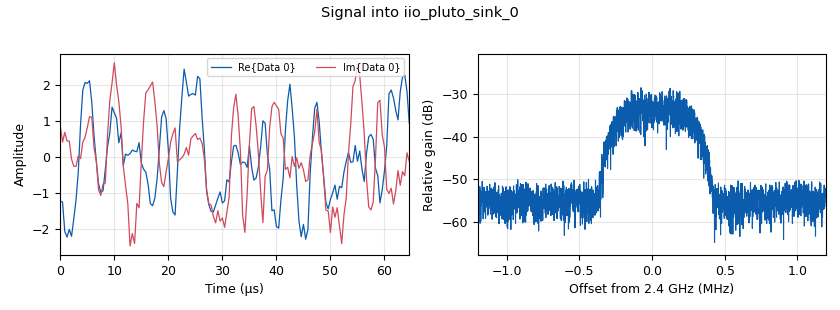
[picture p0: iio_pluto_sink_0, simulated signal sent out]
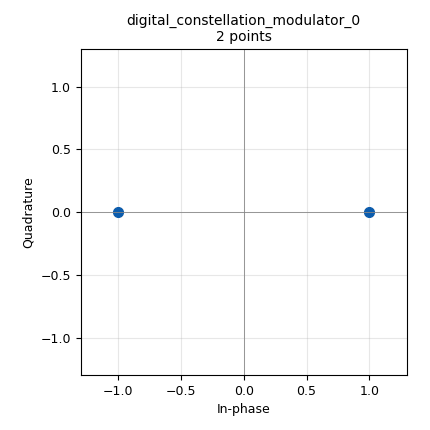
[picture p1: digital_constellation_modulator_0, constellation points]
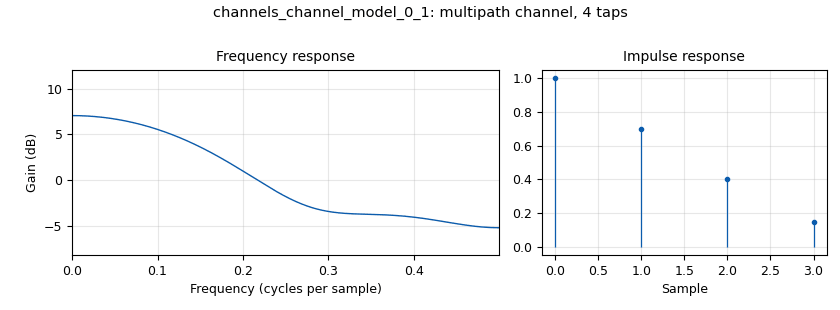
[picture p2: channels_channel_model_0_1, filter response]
options:
  parameters:
    author: Pixel_Pulse
    generate_options: qt_gui
    generator_class_name: PythonQtGuiGenerator
    generator_module: gnuradio.grc.workflows.python_qt_gui
    id: Version_1
    output_language: python
    title: CDP
  states: {}

blocks:
- name: access_key
  id: variable
  parameters:
    value: '"1110000101011010111010001001001111100001010110101110100010010011"'
  states: {}
- name: bpsk
  id: variable_constellation_rect
  parameters:
    const_points: '[-1,1] '
    imag_sect: '1'
    real_sect: '2'
    rot_sym: '2'
    sym_map: '[0, 1,]'
    w_imag_sect: '1'
    w_real_sect: '1'
  states: {}
- name: damp_fac
  id: variable
  parameters:
    value: '0.707'
  states: {}
- name: excess_bw
  id: variable
  parameters:
    value: '0.35'
  states: {}
- name: freq
  id: variable
  parameters:
    value: 2.4e9
  states: {}
- name: freq_offset
  id: variable
  parameters:
    value: '0.01'
  states: {}
- name: hdr_format
  id: variable
  parameters:
    comment: header_format_default
    value: digital.header_format_default(access_key, 0)
  states: {}
- name: max_dev
  id: variable
  parameters:
    value: '0.05'
  states: {}
- name: max_dev_0
  id: variable
  parameters:
    value: '0.05'
  states: {}
- name: my_addr
  id: variable
  parameters:
    value: '''B1'''
  states: {}
- name: nfilts
  id: variable
  parameters:
    value: '32'
  states: {}
- name: noise_volt
  id: variable
  parameters:
    value: '0.3'
  states: {}
- name: phase_bw
  id: variable
  parameters:
    value: '62.8e-3'
  states: {}
- name: rrc_taps
  id: variable
  parameters:
    value: firdes.root_raised_cosine(nfilts, nfilts, 1.0/float(sps), 0.35, 11*sps*nfilts)
  states: {}
- name: samp_rate
  id: variable
  parameters:
    value: '2400000'
  states: {}
- name: sender_addr
  id: variable
  parameters:
    value: '''B1'''
  states: {state: disabled}
- name: sps
  id: variable
  parameters:
    value: '4'
  states: {}
- name: taps
  id: variable
  parameters:
    value: '[1.0,0.7,0.4,0.15]'
  states: {}
- name: time_offset
  id: variable
  parameters:
    value: '1.002'
  states: {}
- name: tx_message
  id: variable_qtgui_entry
  parameters:
    label: Transmitted message
    type: string
    value: '"Hello University of Moratuwa"'
  states: {}
- name: variable_qtgui_entry_0
  id: variable_qtgui_entry
  parameters:
    type: int
    value: '0'
  states: {}
- name: blocks_message_strobe_0
  id: blocks_message_strobe
  parameters:
    msg: pmt.cons(pmt.PMT_NIL, pmt.init_u8vector(len(tx_message.encode()), list(tx_message.encode())))
    period: '1000'
  states: {}
- name: blocks_multiply_const_vxx_0
  id: blocks_multiply_const_vxx
  parameters:
    const: '0.8'
    type: complex
  states: {}
- name: blocks_tagged_stream_mux_0
  id: blocks_tagged_stream_mux
  parameters:
    lengthtagname: packet_len
    ninputs: '2'
    type: byte
  states: {}
- name: channels_channel_model_0_1
  id: channels_channel_model
  parameters:
    comment: |-
      Simulated channel
      Block tag propogation 
      set to off
      because realistically
      over air transmission 
      doesnt preserve metadata
    epsilon: time_offset
    freq_offset: freq_offset
    noise_voltage: noise_volt
    seed: '0'
    taps: taps
  states: {}
- name: digital_constellation_modulator_0
  id: digital_constellation_modulator
  parameters:
    constellation: bpsk
    differential: 'True'
    excess_bw: excess_bw
    samples_per_symbol: sps
  states: {}
- name: digital_crc_append_0
  id: digital_crc_append
  parameters:
    poly: '0x4C11DB7'
  states: {}
- name: digital_protocol_formatter_async_0
  id: digital_protocol_formatter_async
  parameters:
    format: hdr_format
  states: {}
- name: epy_block_0
  id: epy_block
  parameters:
    _source_code: |
      """
      Embedded Python Block: Packet Builder
      Wraps a raw PDU payload with a SRC/DST/TYPE/SEQ/TOTAL/LEN header
      and splits it into segments if it's larger than MAX_PAYLOAD.
      """
      import struct
      from gnuradio import gr
      import pmt

      TYPE_TEXT  = 0x01
      TYPE_IMAGE = 0x02
      TYPE_AUDIO = 0x03

      MAX_PAYLOAD = 10  # bytes of payload per segment

      class blk(gr.basic_block):
          def __init__(self, src_addr=0x01, dst_addr=0x02, msg_type=TYPE_TEXT):
              gr.basic_block.__init__(self, name='Packet Builder', in_sig=None, out_sig=None)
              self.src_addr = src_addr & 0xFF
              self.dst_addr = dst_addr & 0xFF
              self.msg_type = msg_type & 0xFF
              self.message_port_register_in(pmt.intern('pdu_in'))
              self.message_port_register_out(pmt.intern('pdu_out'))
              self.set_msg_handler(pmt.intern('pdu_in'), self.handle_msg)

          def handle_msg(self, msg):
              if not pmt.is_pair(msg):
                  return
              meta = pmt.car(msg)
              try:
                  payload = bytes(pmt.u8vector_elements(pmt.cdr(msg)))
              except Exception:
                  return

              segments = [payload[i:i+MAX_PAYLOAD] for i in range(0, len(payload), MAX_PAYLOAD)] or [b'']
              total = len(segments)

              for seq, seg in enumerate(segments):
                  header = struct.pack('>BBBBBH', self.src_addr, self.dst_addr,
                                        self.msg_type, seq, total, len(seg))
                  packet = header + seg
                  out_vec = pmt.init_u8vector(len(packet), list(packet))
                  self.message_port_pub(pmt.intern('pdu_out'), pmt.cons(meta, out_vec))
    dst_addr: '3'
    msg_type: '1'
    src_addr: '1'
  states: {}
- name: epy_block_3
  id: epy_block
  parameters:
    _source_code: |
      """
      Embedded Python Block: PDU Prepend Dummy Bytes
      """

      import numpy as np
      from gnuradio import gr
      import pmt

      class blk(gr.basic_block):
          def __init__(self, num_dummy_bytes=64):  # Default to 64 bytes
              """
              Constructor.
              Args:
                  num_dummy_bytes: The number of random bytes to prepend.
              """
              gr.basic_block.__init__(
                  self,
                  name='PDU Prepend Dummy Bytes',
                  in_sig=None,
                  out_sig=None
              )
              
              # Save the parameter
              self.num_dummy_bytes = num_dummy_bytes

              # Register message ports for PDU handling
              self.message_port_register_in(pmt.intern('pdu_in'))
              self.message_port_register_out(pmt.intern('pdu_out'))
              
              # Set up the message handler
              self.set_msg_handler(pmt.intern('pdu_in'), self.handle_msg)

          def handle_msg(self, msg):
              """
              Message handler that processes incoming PDUs.
              """
              # 1. Validate that the message is a PDU (it should be a pair: meta + data)
              if not pmt.is_pair(msg):
                  return

              # 2. Extract metadata and data vector
              meta = pmt.car(msg)
              data_pmt = pmt.cdr(msg)
              
              # Convert PMT vector to a numpy array (uint8)
              # We rely on pmt.u8vector_elements to get the data out
              try:
                  input_data = pmt.u8vector_elements(data_pmt)
              except:
                  # If data is not a u8vector, ignore or print error
                  return

              # 3. Generate dummy bytes for QPSK Costas Loop Sync
              # We use random integers between 0 and 255.
              # Random data ensures White Noise properties, meaning we have an equal 
              # probability of generating 00, 01, 10, and 11 bit pairs.
              # This guarantees that the transitions hit all 4 points of the QPSK 
              # constellation (1+j, 1-j, -1+j, -1-j) to energize the loop.
              dummy_data = np.random.randint(0, 256, self.num_dummy_bytes, dtype=np.uint8)
              
              # 4. Concatenate the dummy bytes with the input data
              # input_data comes out as a tuple or list from pmt, convert to array first
              combined_data = np.concatenate((dummy_data, np.array(input_data, dtype=np.uint8)))

              # 5. Create new output PMT
              # We keep the original metadata (meta)
              out_len = len(combined_data)
              out_vector = pmt.init_u8vector(out_len, combined_data)
              out_msg = pmt.cons(meta, out_vector)

              # 6. Publish the message to the output port
              self.message_port_pub(pmt.intern('pdu_out'), out_msg)
    num_dummy_bytes: '1500'
  states: {}
- name: iio_pluto_sink_0
  id: iio_pluto_sink
  parameters:
    attenuation1: '10.0'
    bandwidth: '20000000'
    buffer_size: '32768'
    cyclic: 'False'
    filter_source: '''Auto'''
    frequency: '2400000000'
    samplerate: samp_rate
    type: fc32
    uri: '''ip:192.168.1.11'''
  states: {}
- name: pdu_pdu_to_tagged_stream_0
  id: pdu_pdu_to_tagged_stream
  parameters:
    tag: packet_len
    type: byte
  states: {}
- name: pdu_pdu_to_tagged_stream_1
  id: pdu_pdu_to_tagged_stream
  parameters:
    tag: packet_len
    type: byte
  states: {}
- name: pdu_pdu_to_tagged_stream_2
  id: pdu_pdu_to_tagged_stream
  parameters:
    tag: packet_len
    type: byte
  states: {}
- name: pdu_tagged_stream_to_pdu_0
  id: pdu_tagged_stream_to_pdu
  parameters:
    tag: packet_len
    type: byte
  states: {}

connections:
- [blocks_message_strobe_0, strobe, epy_block_0, pdu_in]
- [blocks_multiply_const_vxx_0, '0', channels_channel_model_0_1, '0']
- [blocks_tagged_stream_mux_0, '0', pdu_tagged_stream_to_pdu_0, '0']
- [channels_channel_model_0_1, '0', iio_pluto_sink_0, '0']
- [digital_constellation_modulator_0, '0', blocks_multiply_const_vxx_0, '0']
- [digital_crc_append_0, out, digital_protocol_formatter_async_0, in]
- [digital_protocol_formatter_async_0, header, pdu_pdu_to_tagged_stream_0, pdus]
- [digital_protocol_formatter_async_0, payload, pdu_pdu_to_tagged_stream_1, pdus]
- [epy_block_0, pdu_out, digital_crc_append_0, in]
- [epy_block_3, pdu_out, pdu_pdu_to_tagged_stream_2, pdus]
- [pdu_pdu_to_tagged_stream_0, '0', blocks_tagged_stream_mux_0, '0']
- [pdu_pdu_to_tagged_stream_1, '0', blocks_tagged_stream_mux_0, '1']
- [pdu_pdu_to_tagged_stream_2, '0', digital_constellation_modulator_0, '0']
- [pdu_tagged_stream_to_pdu_0, pdus, epy_block_3, pdu_in]

metadata:
  file_format: 1
  grc_version: 3.10.12.0
